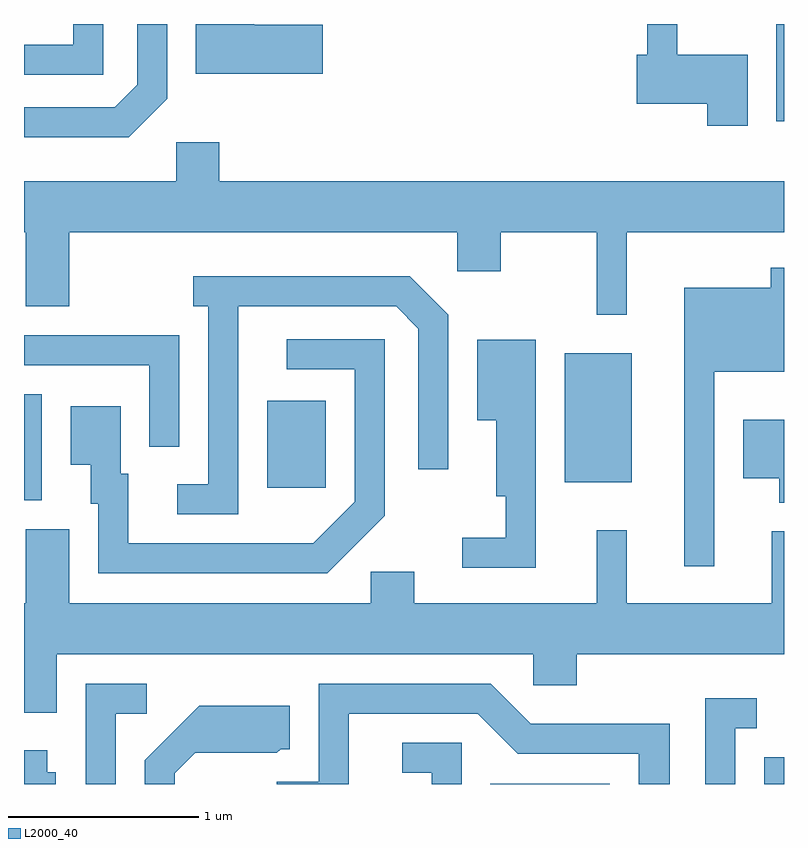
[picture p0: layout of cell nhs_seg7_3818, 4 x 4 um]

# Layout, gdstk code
import gdstk
lib = gdstk.Library(unit=1e-6, precision=1e-09)
def R(c, l, rs):  # rectangles x0, y0, x1, y1
    for r in rs: c.add(gdstk.rectangle(r[:2], r[2:], *l))
def P(c, l, *ps):  # polygons
    for p in ps: c.add(gdstk.Polygon(p, *l))
L2000_40 = (2000, 40)

nhs_seg7_3818 = lib.new_cell('nhs_seg7_3818')
R(nhs_seg7_3818, L2000_40, [(304.066,1760.252,304.694,1760.254), (305.506,1760.252,305.611,1760.394), (301.611,1761.746,301.704,1762.304), (302.891,1761.811,303.199,1762.269), (304.456,1761.841,304.809,1762.519), (305.571,1763.741,305.611,1764.252)])
P(nhs_seg7_3818, L2000_40, [(303.184,1764.249),(302.824,1764.249),(302.824,1764.252),(302.516,1764.252),(302.516,1763.991),(303.184,1763.991)],
  [(305.419,1764.089),(305.049,1764.089),(305.049,1764.252),(304.891,1764.252),(304.891,1764.089),(304.836,1764.089),(304.836,1763.831),(305.206,1763.831),(305.206,1763.716),(305.419,1763.716)],
  [(302.364,1763.859),(302.364,1764.252),(302.206,1764.252),(302.206,1763.932),(302.089,1763.814),(301.611,1763.814),(301.611,1763.656),(302.162,1763.656)],
  [(302.029,1764.252),(301.871,1764.252),(301.871,1764.144),(301.611,1764.144),(301.611,1763.986),(302.029,1763.986)],
  [(304.784,1763.156),(305.611,1763.156),(305.611,1763.424),(302.639,1763.424),(302.639,1763.629),(302.411,1763.629),(302.411,1763.424),(301.611,1763.424),(301.611,1763.156),(301.621,1763.156),(301.621,1762.766),(301.849,1762.766),(301.849,1763.156),(303.891,1763.156),(303.891,1762.951),(304.119,1762.951),(304.119,1763.156),(304.626,1763.156),(304.626,1762.723),(304.784,1762.723)],
  [(305.244,1762.421),(305.611,1762.421),(305.611,1762.968),(305.541,1762.968),(305.541,1762.864),(305.086,1762.864),(305.086,1761.398),(305.244,1761.398)],
  [(302.739,1762.766),(303.569,1762.766),(303.686,1762.649),(303.686,1761.908),(303.844,1761.908),(303.844,1762.722),(303.642,1762.924),(302.503,1762.924),(302.503,1762.766),(302.581,1762.766),(302.581,1761.829),(302.418,1761.829),(302.418,1761.671),(302.739,1761.671)],
  [(302.429,1762.614),(301.611,1762.614),(301.611,1762.456),(302.271,1762.456),(302.271,1762.028),(302.429,1762.028)],
  [(303.509,1761.664),(303.509,1762.594),(302.993,1762.594),(302.993,1762.436),(303.351,1762.436),(303.351,1761.737),(303.134,1761.519),(302.159,1761.519),(302.159,1761.884),(302.119,1761.884),(302.119,1762.239),(301.856,1762.239),(301.856,1761.931),(301.961,1761.931),(301.961,1761.726),(302.001,1761.726),(302.001,1761.361),(303.207,1761.361)],
  [(304.304,1762.589),(303.996,1762.589),(303.996,1762.166),(304.096,1762.166),(304.096,1761.766),(304.146,1761.766),(304.146,1761.549),(303.918,1761.549),(303.918,1761.391),(304.304,1761.391)],
  [(305.611,1762.169),(305.396,1762.169),(305.396,1761.861),(305.586,1761.861),(305.586,1761.731),(305.611,1761.731)],
  [(301.784,1760.936),(304.291,1760.936),(304.291,1760.771),(304.519,1760.771),(304.519,1760.936),(305.611,1760.936),(305.611,1761.583),(305.546,1761.583),(305.546,1761.204),(304.784,1761.204),(304.784,1761.588),(304.626,1761.588),(304.626,1761.204),(303.664,1761.204),(303.664,1761.369),(303.436,1761.369),(303.436,1761.204),(301.849,1761.204),(301.849,1761.594),(301.621,1761.594),(301.621,1761.204),(301.611,1761.204),(301.611,1760.626),(301.784,1760.626)],
  [(303.319,1760.621),(303.999,1760.621),(304.209,1760.411),(304.846,1760.411),(304.846,1760.252),(305.009,1760.252),(305.009,1760.569),(304.277,1760.569),(304.067,1760.779),(303.161,1760.779),(303.161,1760.264),(302.941,1760.264),(302.941,1760.252),(303.319,1760.252)],
  [(302.094,1760.621),(302.258,1760.621),(302.258,1760.779),(301.936,1760.779),(301.936,1760.252),(302.094,1760.252)],
  [(305.354,1760.546),(305.468,1760.546),(305.468,1760.704),(305.196,1760.704),(305.196,1760.252),(305.354,1760.252)],
  [(302.404,1760.309),(302.512,1760.416),(302.942,1760.416),(302.962,1760.436),(303.009,1760.436),(303.009,1760.664),(302.534,1760.664),(302.246,1760.377),(302.246,1760.252),(302.404,1760.252)],
  [(303.914,1760.469),(303.603,1760.469),(303.603,1760.311),(303.756,1760.311),(303.756,1760.252),(303.914,1760.252)],
  [(301.779,1760.314),(301.734,1760.314),(301.734,1760.429),(301.611,1760.429),(301.611,1760.252),(301.779,1760.252)])

lib.write_gds('nhs_seg7_3818.gds')
